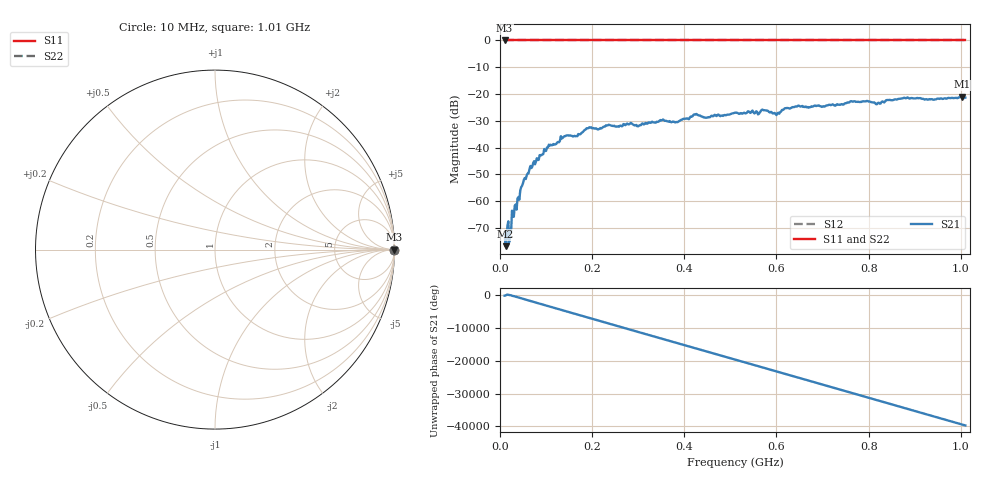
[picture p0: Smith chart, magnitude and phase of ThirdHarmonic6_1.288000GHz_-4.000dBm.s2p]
! 8/16/2025 2:03:55 PM
! C:\ANRITSUVNA\TEMP\TEMP.S2P
! CHANNEL.1
! TR.MEASUREMENT
! RAW.DATA
! RF.CORRECTION.OFF
! AVERAGING.OFF
! IF.BANDWIDTH: 5KHZ
! SWEEPTYPE:  FREQ.SWEEP(Linear)
! Reference Plane Port Info
! PORT:  PORT1  PORT2
! DISTANCE:  0  m  0  m
! TIME:  0  s  0  s
! PHASE.OFFSET:  0  deg.  0  deg.
! LOSS:  0  dB  0  dB
! REF.LOSS:  0  dB  0  dB
! REF.FREQ:  0  Hz  0  Hz
! Power Info
! POWER:  -20  dBm  -20  dBm
! EFF.POWER:  -20  dBm  -20  dBm
! SOURCE.ATTEN:  0  dB  0  dB
! TEST.ATTEN:  0  dB  0  dB
# GHZ S RI R 50.0
! FREQ.GHZ  S11RE  S11IM  S21RE  S21IM  S12RE  S12IM  S22RE  S22IM
!; PortSelection: Port_12
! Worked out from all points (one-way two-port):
!   501 points, 10 MHz to 1.01 GHz, reference 50 ohm
!   highest |S21| = -21.02 dB at 1.002 GHz (marker M1); lowest = -76.9 dB at 12 MHz (marker M2)
!   lowest |S11| = 0.0 dB at 10 MHz (marker M3)
!   |S11| at or under -10 dB: nowhere
!   |S22| runs from 0.0 to 0.0 dB; largest |S21 - S12| = 1.1
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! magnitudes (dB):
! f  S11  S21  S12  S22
! 10 MHz  0.0  -71.7  0.0  0.0
! 12 MHz  0.0  -76.9  0.0  0.0
! 16 MHz  0.0  -69.5  0.0  0.0
! 24 MHz  0.0  -72.0  0.0  0.0
! 30 MHz  0.0  -65.9  0.0  0.0
! 50 MHz  0.0  -53.3  0.0  0.0
! 70 MHz  0.0  -47.2  0.0  0.0
! 106 MHz  0.0  -39.0  0.0  0.0
! 142 MHz  0.0  -35.7  0.0  0.0
! 178 MHz  0.0  -34.4  0.0  0.0
! 194 MHz  0.0  -32.4  0.0  0.0
! 344 MHz  0.0  -30.3  0.0  0.0
! 384 MHz  0.0  -30.5  0.0  0.0
! 424 MHz  0.0  -27.7  0.0  0.0
! 510 MHz  0.0  -27.0  0.0  0.0
! 572 MHz  0.0  -26.1  0.0  0.0
! 602 MHz  0.0  -27.2  0.0  0.0
! 622 MHz  0.0  -25.3  0.0  0.0
! 678 MHz  0.0  -24.7  0.0  0.0
! 844 MHz  0.0  -22.3  0.0  0.0
! 1.002 GHz  0.0  -21.0  0.0  0.0
! 1.01 GHz  0.0  -21.4  0.0  0.0
